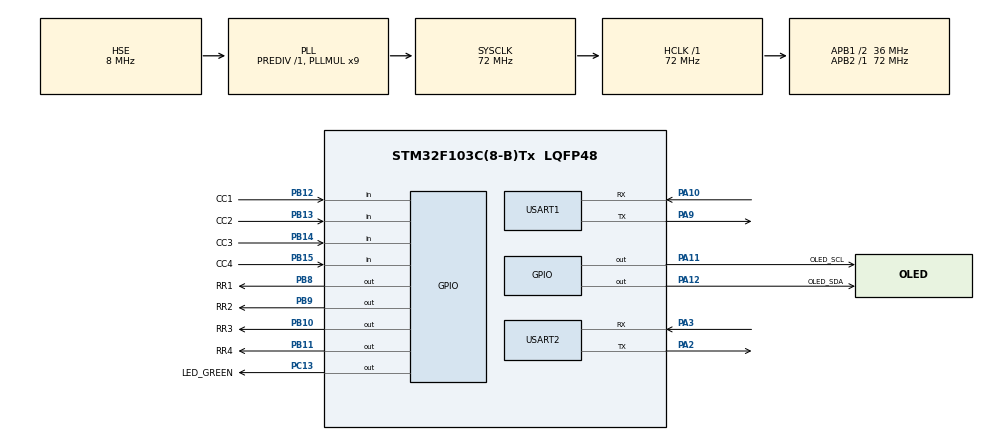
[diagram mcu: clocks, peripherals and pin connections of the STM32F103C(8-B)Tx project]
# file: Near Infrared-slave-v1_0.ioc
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FREERTOS.Tasks01=LED_Task,-2,128,Start_LED_Task,Default,NULL,Dynamic,NULL,NULL;menu_Task,-1,128,Start_menu_Task,Default,NULL,Dynamic,NULL,NULL;modbus_Task,-1,128,Start_modbus_Task,Default,NULL,Dynamic,NULL,NULL
Mcu.Family=STM32F1
Mcu.Name=STM32F103C(8-B)Tx
Mcu.Package=LQFP48
NVIC.PriorityGroup=NVIC_PRIORITYGROUP_4
NVIC.TIM4_IRQn=true\:15\:0\:false\:false\:true\:false\:false\:true\:true
NVIC.TimeBase=TIM4_IRQn
NVIC.TimeBaseIP=TIM4
NVIC.USART1_IRQn=true\:5\:0\:false\:false\:true\:true\:true\:true\:true
NVIC.USART2_IRQn=true\:5\:0\:false\:false\:true\:true\:true\:true\:true
PA10.Mode=Asynchronous
PA10.Signal=USART1_RX
PA11.GPIO_Label=OLED_SCL
PA11.GPIO_PuPd=GPIO_NOPULL
PA11.GPIO_Speed=GPIO_SPEED_FREQ_HIGH
PA11.Signal=GPIO_Output
PA12.GPIO_Label=OLED_SDA
PA12.GPIO_Speed=GPIO_SPEED_FREQ_HIGH
PA12.Signal=GPIO_Output
PA13.Mode=Serial_Wire
PA13.Signal=SYS_JTMS-SWDIO
PA14.Mode=Serial_Wire
PA14.Signal=SYS_JTCK-SWCLK
PA2.Mode=Asynchronous
PA2.Signal=USART2_TX
PA3.Mode=Asynchronous
PA3.Signal=USART2_RX
PA9.Mode=Asynchronous
PA9.Signal=USART1_TX
PB10.GPIO_Label=RR3
PB10.GPIO_PuPd=GPIO_PULLDOWN
PB10.Signal=GPIO_Output
PB11.GPIO_Label=RR4
PB11.GPIO_PuPd=GPIO_PULLDOWN
PB11.Signal=GPIO_Output
PB12.GPIO_Label=CC1
PB12.GPIO_PuPd=GPIO_PULLUP
PB12.Signal=GPIO_Input
PB13.GPIO_Label=CC2
PB13.GPIO_PuPd=GPIO_PULLUP
PB13.Signal=GPIO_Input
PB14.GPIO_Label=CC3
PB14.GPIO_PuPd=GPIO_PULLUP
PB14.Signal=GPIO_Input
PB15.GPIO_Label=CC4
PB15.GPIO_PuPd=GPIO_PULLUP
PB15.Signal=GPIO_Input
PB8.GPIO_Label=RR1
PB8.GPIO_PuPd=GPIO_PULLDOWN
PB8.PinState=GPIO_PIN_RESET
PB8.Signal=GPIO_Output
PB9.GPIO_Label=RR2
PB9.GPIO_PuPd=GPIO_PULLDOWN
PB9.Signal=GPIO_Output
PC13-TAMPER-RTC.GPIO_Label=LED_GREEN
PC13-TAMPER-RTC.GPIO_PuPd=GPIO_PULLUP
PC13-TAMPER-RTC.GPIO_Speed=GPIO_SPEED_FREQ_HIGH
PC13-TAMPER-RTC.PinState=GPIO_PIN_SET
PC13-TAMPER-RTC.Signal=GPIO_Output
PC14-OSC32_IN.Mode=LSE-External-Oscillator
PC14-OSC32_IN.Signal=RCC_OSC32_IN
PC15-OSC32_OUT.Mode=LSE-External-Oscillator
PC15-OSC32_OUT.Signal=RCC_OSC32_OUT
PD0-OSC_IN.Mode=HSE-External-Oscillator
PD0-OSC_IN.Signal=RCC_OSC_IN
PD1-OSC_OUT.Mode=HSE-External-Oscillator
PD1-OSC_OUT.Signal=RCC_OSC_OUT
ProjectManager.HeapSize=0x200
ProjectManager.StackSize=0x400
ProjectManager.TargetToolchain=MDK-ARM V5.32
RCC.AHBFreq_Value=72000000
RCC.APB1CLKDivider=RCC_HCLK_DIV2
RCC.APB1Freq_Value=36000000
RCC.APB1TimFreq_Value=72000000
RCC.APB2Freq_Value=72000000
RCC.APB2TimFreq_Value=72000000
RCC.HCLKFreq_Value=72000000
RCC.PLLMUL=RCC_PLL_MUL9
RCC.PLLSourceVirtual=RCC_PLLSOURCE_HSE
RCC.SYSCLKFreq_VALUE=72000000
RCC.SYSCLKSource=RCC_SYSCLKSOURCE_PLLCLK
RCC.USBFreq_Value=72000000
RTC.Hours=14
RTC.Month=RTC_MONTH_JULY
RTC.Seconds=15
RTC.WeekDay=RTC_WEEKDAY_FRIDAY
RTC.Year=24
TIM3.AutoReloadPreload=TIM_AUTORELOAD_PRELOAD_ENABLE
TIM3.Prescaler=72-1
USART1.VirtualMode=VM_ASYNC
USART2.VirtualMode=VM_ASYNC
VP_FREERTOS_VS_CMSIS_V1.Mode=CMSIS_V1
VP_RTC_No_RTC_Output.Mode=RTC_OUT_NO
VP_RTC_VS_RTC_Activate.Mode=RTC_Enabled
VP_RTC_VS_RTC_Calendar.Mode=RTC_Calendar
VP_SYS_VS_tim4.Mode=TIM4
VP_TIM3_VS_ClockSourceINT.Mode=Internal
board=custom

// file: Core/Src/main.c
/* USER CODE BEGIN Header */
/**
  ******************************************************************************
  * @file           : main.c
  * @brief          : Main program body
  ******************************************************************************
  * @attention
  *
  * Copyright (c) 2024 STMicroelectronics.
  * All rights reserved.
  *
  * This software is licensed under terms that can be found in the LICENSE file
  * in the root directory of this software component.
  * If no LICENSE file comes with this software, it is provided AS-IS.
  *
  ******************************************************************************
  */
/* USER CODE END Header */
#include "main.h"
#include "cmsis_os.h"
#include "rtc.h"
#include "tim.h"
#include "usart.h"
#include "gpio.h"

/* USER CODE BEGIN Includes */
#include "oled.h"
#include "menu.h"

/* USER CODE END Includes */

void SystemClock_Config(void);
void MX_FREERTOS_Init(void);

int main(void)
{

  /* MCU Configuration--------------------------------------------------------*/

  /* Reset of all peripherals, Initializes the Flash interface and the Systick. */
  HAL_Init();

  /* Configure the system clock */
  SystemClock_Config();

  /* Initialize all configured peripherals */
  MX_GPIO_Init();
  MX_USART1_UART_Init();
  MX_USART2_UART_Init();
  MX_RTC_Init();
  MX_TIM3_Init();
  /* USER CODE BEGIN 2 */
  OLED_Init();
  OLED_Clear();
  home();

  /* USER CODE END 2 */

  /* Call init function for freertos objects (in cmsis_os2.c) */
  MX_FREERTOS_Init();

  /* Start scheduler */
  osKernelStart();

  /* We should never get here as control is now taken by the scheduler */

  /* Infinite loop */
  while (1)
  {

  }
}

void SystemClock_Config(void)
{
  RCC_OscInitTypeDef RCC_OscInitStruct = {0};
  RCC_ClkInitTypeDef RCC_ClkInitStruct = {0};
  RCC_PeriphCLKInitTypeDef PeriphClkInit = {0};

  /** Initializes the RCC Oscillators according to the specified parameters
  * in the RCC_OscInitTypeDef structure.
  */
  RCC_OscInitStruct.OscillatorType = RCC_OSCILLATORTYPE_LSI|RCC_OSCILLATORTYPE_HSE;
  RCC_OscInitStruct.HSEState = RCC_HSE_ON;
  RCC_OscInitStruct.HSEPredivValue = RCC_HSE_PREDIV_DIV1;
  RCC_OscInitStruct.HSIState = RCC_HSI_ON;
  RCC_OscInitStruct.LSIState = RCC_LSI_ON;
  RCC_OscInitStruct.PLL.PLLState = RCC_PLL_ON;
  RCC_OscInitStruct.PLL.PLLSource = RCC_PLLSOURCE_HSE;
  RCC_OscInitStruct.PLL.PLLMUL = RCC_PLL_MUL9;
  if (HAL_RCC_OscConfig(&RCC_OscInitStruct) != HAL_OK)
  {
    Error_Handler();
  }

  /** Initializes the CPU, AHB and APB buses clocks
  */
  RCC_ClkInitStruct.ClockType = RCC_CLOCKTYPE_HCLK|RCC_CLOCKTYPE_SYSCLK
                              |RCC_CLOCKTYPE_PCLK1|RCC_CLOCKTYPE_PCLK2;
  RCC_ClkInitStruct.SYSCLKSource = RCC_SYSCLKSOURCE_PLLCLK;
  RCC_ClkInitStruct.AHBCLKDivider = RCC_SYSCLK_DIV1;
  RCC_ClkInitStruct.APB1CLKDivider = RCC_HCLK_DIV2;
  RCC_ClkInitStruct.APB2CLKDivider = RCC_HCLK_DIV1;

  if (HAL_RCC_ClockConfig(&RCC_ClkInitStruct, FLASH_LATENCY_2) != HAL_OK)
  {
    Error_Handler();
  }
  PeriphClkInit.PeriphClockSelection = RCC_PERIPHCLK_RTC;
  PeriphClkInit.RTCClockSelection = RCC_RTCCLKSOURCE_LSI;
  if (HAL_RCCEx_PeriphCLKConfig(&PeriphClkInit) != HAL_OK)
  {
    Error_Handler();
  }
}

void HAL_TIM_PeriodElapsedCallback(TIM_HandleTypeDef *htim)
{
  if (htim->Instance == TIM4) {
    HAL_IncTick();
  }
}

void Error_Handler(void)
{
  __disable_irq();
  while (1)
  {
  }
}

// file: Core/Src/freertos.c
/* USER CODE BEGIN Header */
/**
  ******************************************************************************
  * File Name          : freertos.c
  * Description        : Code for freertos applications
  ******************************************************************************
  * @attention
  *
  * Copyright (c) 2024 STMicroelectronics.
  * All rights reserved.
  *
  * This software is licensed under terms that can be found in the LICENSE file
  * in the root directory of this software component.
  * If no LICENSE file comes with this software, it is provided AS-IS.
  *
  ******************************************************************************
  */
/* USER CODE END Header */

#include "FreeRTOS.h"
#include "task.h"
#include "main.h"
#include "cmsis_os.h"

/* USER CODE BEGIN Includes */
#include "menu.h"
#include "delay.h"
#include "matrix_key.h"

/* USER CODE END Includes */

osThreadId LED_TaskHandle;
osThreadId menu_TaskHandle;
osThreadId modbus_TaskHandle;

void Start_LED_Task(void const * argument);
void Start_menu_Task(void const * argument);
void Start_modbus_Task(void const * argument);

void MX_FREERTOS_Init(void); /* (MISRA C 2004 rule 8.1) */

/* GetIdleTaskMemory prototype (linked to static allocation support) */
void vApplicationGetIdleTaskMemory( StaticTask_t **ppxIdleTaskTCBBuffer, StackType_t **ppxIdleTaskStackBuffer, uint32_t *pulIdleTaskStackSize );

/* USER CODE BEGIN GET_IDLE_TASK_MEMORY */
static StaticTask_t xIdleTaskTCBBuffer;
static StackType_t xIdleStack[configMINIMAL_STACK_SIZE];

void vApplicationGetIdleTaskMemory( StaticTask_t **ppxIdleTaskTCBBuffer, StackType_t **ppxIdleTaskStackBuffer, uint32_t *pulIdleTaskStackSize )
{
  *ppxIdleTaskTCBBuffer = &xIdleTaskTCBBuffer;
  *ppxIdleTaskStackBuffer = &xIdleStack[0];
  *pulIdleTaskStackSize = configMINIMAL_STACK_SIZE;
  /* place for user code */
}
/* USER CODE END GET_IDLE_TASK_MEMORY */

void MX_FREERTOS_Init(void) {

  /* Create the thread(s) */
  /* definition and creation of LED_Task */
  osThreadDef(LED_Task, Start_LED_Task, osPriorityBelowNormal, 0, 128);
  LED_TaskHandle = osThreadCreate(osThread(LED_Task), NULL);

  /* definition and creation of menu_Task */
  osThreadDef(menu_Task, Start_menu_Task, osPriorityBelowNormal, 0, 128);
  menu_TaskHandle = osThreadCreate(osThread(menu_Task), NULL);

  /* definition and creation of modbus_Task */
  osThreadDef(modbus_Task, Start_modbus_Task, osPriorityBelowNormal, 0, 128);
  modbus_TaskHandle = osThreadCreate(osThread(modbus_Task), NULL);

}

void Start_LED_Task(void const * argument)
{
  /* USER CODE BEGIN Start_LED_Task */
  /* Infinite loop */
  for(;;)
  {
//	  HAL_GPIO_TogglePin(LED_GREEN_GPIO_Port,LED_GREEN_Pin);
	  osDelay(500);
  }
  /* USER CODE END Start_LED_Task */
}

void Start_menu_Task(void const * argument)
{
  /* USER CODE BEGIN Start_menu_Task */
  /* Infinite loop */
  uint16_t key_value;
  for(;;)
  {
	  key_value = keyboard_scan();
	  printf("你按下的按键是：%d\r\n",key_value);
	  if(key_value == 1)
	  {
		  HAL_GPIO_WritePin(LED_GREEN_GPIO_Port,LED_GREEN_Pin,GPIO_PIN_RESET);
//		  osDelay(500);

	  }
	  else if(key_value == 2)
	  {
		  HAL_GPIO_WritePin(LED_GREEN_GPIO_Port,LED_GREEN_Pin,GPIO_PIN_SET);

	  }
  }
  /* USER CODE END Start_menu_Task */
}

void Start_modbus_Task(void const * argument)
{
  /* USER CODE BEGIN Start_modbus_Task */
  /* Infinite loop */
  for(;;)
  {
    Menu_key_set();
//	osDelay(500);
  }
  /* USER CODE END Start_modbus_Task */
}
